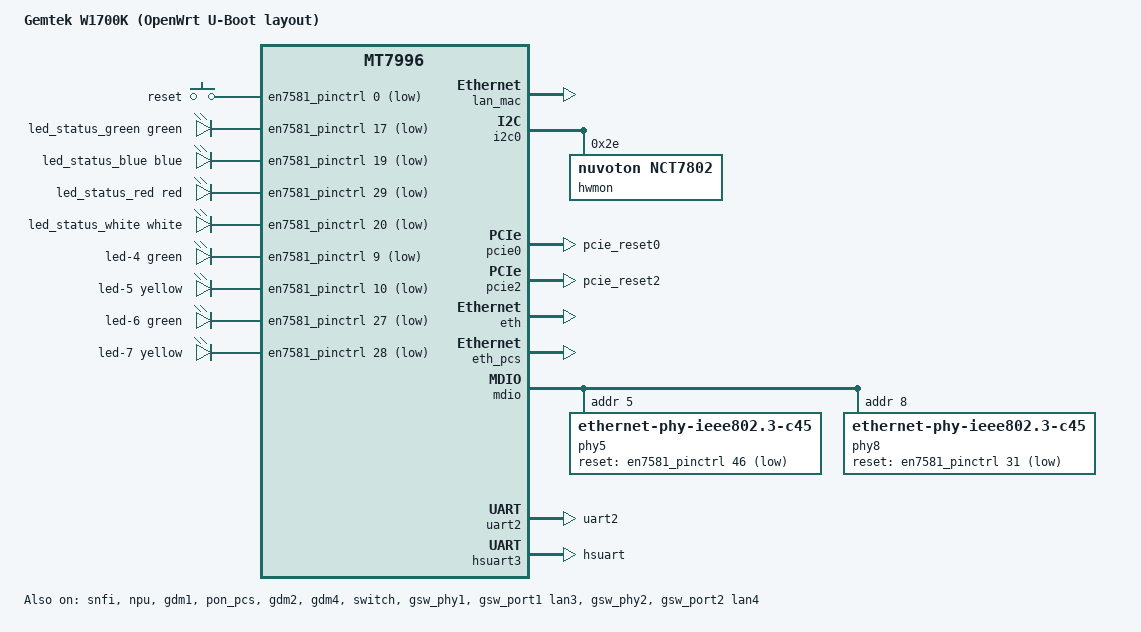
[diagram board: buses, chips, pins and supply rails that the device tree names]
// SPDX-License-Identifier: GPL-2.0-or-later OR MIT

/dts-v1/;

#include <dt-bindings/leds/common.h>
#include <dt-bindings/gpio/gpio.h>
#include <dt-bindings/input/input.h>
#include <dt-bindings/phy/phy.h>
#include "an7581.dtsi"
#include "an7581-npu-mt7996.dtsi"

/ {
	model = "Gemtek W1700K (OpenWrt U-Boot layout)";
	compatible = "gemtek,w1700k-ubi", "airoha,an7581", "airoha,en7581";

	aliases {
		serial0 = &uart1;
		led-boot = &led_status_red;
		led-failsafe = &led_status_blue;
		led-upgrade = &led_status_blue;
		led-running = &led_status_green;
	};

	chosen {
		rootdisk = <&ubi_rootfs>;
		bootargs = "console=ttyS0,115200 earlycon ubi.block=0,fit root=/dev/fit0 rootwait";
		stdout-path = "serial0:115200n8";
	};

	keys {
		compatible = "gpio-keys";

		key-restart {
			label = "reset";
			gpios = <&en7581_pinctrl 0 GPIO_ACTIVE_LOW>;
			linux,code = <KEY_RESTART>;
		};
	};

	leds {
		compatible = "gpio-leds";

		led_status_green: led-0 {
			color = <LED_COLOR_ID_GREEN>;
			function = LED_FUNCTION_STATUS;
			gpios = <&en7581_pinctrl 17 GPIO_ACTIVE_LOW>;
		};

		led_status_blue: led-1 {
			color = <LED_COLOR_ID_BLUE>;
			function = LED_FUNCTION_STATUS;
			gpios = <&en7581_pinctrl 19 GPIO_ACTIVE_LOW>;
		};

		led_status_red: led-2 {
			color = <LED_COLOR_ID_RED>;
			function = LED_FUNCTION_STATUS;
			gpios = <&en7581_pinctrl 29 GPIO_ACTIVE_LOW>;
		};

		led_status_white: led-3 {
			color = <LED_COLOR_ID_WHITE>;
			function = LED_FUNCTION_STATUS;
			gpios = <&en7581_pinctrl 20 GPIO_ACTIVE_LOW>;
		};

		led-4 {
			color = <LED_COLOR_ID_GREEN>;
			function = LED_FUNCTION_LAN;
			function-enumerator = <3>;
			gpios = <&en7581_pinctrl 9 GPIO_ACTIVE_LOW>;
		};

		led-5 {
			color = <LED_COLOR_ID_YELLOW>;
			function = LED_FUNCTION_LAN;
			function-enumerator = <3>;
			gpios = <&en7581_pinctrl 10 GPIO_ACTIVE_LOW>;
		};

		led-6 {
			color = <LED_COLOR_ID_GREEN>;
			function = LED_FUNCTION_LAN;
			function-enumerator = <4>;
			gpios = <&en7581_pinctrl 27 GPIO_ACTIVE_LOW>;
		};

		led-7 {
			color = <LED_COLOR_ID_YELLOW>;
			function = LED_FUNCTION_LAN;
			function-enumerator = <4>;
			gpios = <&en7581_pinctrl 28 GPIO_ACTIVE_LOW>;
		};
	};
};

&en7581_pinctrl {
	gpio-ranges = <&en7581_pinctrl 0 13 47>;

	mdio_pins: mdio-pins {
		mux {
			function = "mdio";
			groups = "mdio";
		};

		conf {
			pins = "gpio2";
			output-high;
		};
	};

	pcie0_rst_pins: pcie0-rst-pins {
		conf {
			pins = "pcie_reset0";
			drive-open-drain = <1>;
		};
	};

	pcie2_rst_pins: pcie2-rst-pins {
		conf {
			pins = "pcie_reset2";
			drive-open-drain = <1>;
		};
	};

	uart2_pins: uart2-pins {
		mux {
			function = "uart";
			groups = "uart2";
		};
	};

	hsuart_pins: hsuart-pins {
		mux {
			function = "uart";
			groups = "hsuart";
		};
	};
};

&snfi {
	status = "okay";
};

&spi_nand {
	#address-cells = <1>;
	#size-cells = <1>;
	partitions {
		compatible = "fixed-partitions";
		#address-cells = <1>;
		#size-cells = <1>;

		partition@0 {
			label = "vendor";
			reg = <0x00000000 0x00600000>;
			read-only;
		};

		partition@600000 {
			label = "chainloader";
			reg = <0x00600000 0x00100000>;
			read-only;
		};

		partition@700000 {
			label = "ubi";
			reg = <0x00700000 0x1b700000>;
			compatible = "linux,ubi";

			volumes {
				ubi-volume-ubootenv {
					volname = "ubootenv";
					nvmem-layout {
						compatible = "u-boot,env-redundant-bool";
					};
				};

				ubi-volume-ubootenv2 {
					volname = "ubootenv2";
					nvmem-layout {
						compatible = "u-boot,env-redundant-bool";
					};
				};

				ubi_rootfs: ubi-volume-fit {
					volname = "fit";
				};

				ubi_factory: ubi-volume-factory {
					volname = "factory";
				};
			};
		};

		/* reserved for bad block table */
		reserved_bmt@1be00000 {
			label = "reserved_bmt";
			reg = <0x1be00000 0x04200000>;
			read-only;
		};
	};
};

&ubi_factory {
	nvmem-layout {
		compatible = "fixed-layout";
		#address-cells = <1>;
		#size-cells = <1>;

		eeprom: eeprom@0 {
			reg = <0x0 0x1e00>;
		};

		wan_mac: macaddr@5000 {
			reg = <0x5000 0x6>;
		};

		lan_mac: macaddr@6000 {
			compatible = "mac-base";
			reg = <0x6000 0x6>;
			#nvmem-cell-cells = <1>;
		};
	};
};

&i2c0 {
	status = "okay";

	hwmon@2e {
		compatible = "nuvoton,nct7802";
		reg = <0x2e>;
	};
};

&pcie0 {
	status = "okay";

	airoha,x2-mode;

	pinctrl-names = "default";
	pinctrl-0 = <&pcie0_rst_pins>;
	pcie@0,0 {
		reg = <0x0000 0 0 0 0>;
		device_type = "pci";
		#address-cells = <3>;
		#size-cells = <2>;

		mt7996@0,0 {
			reg = <0x0000 0 0 0 0>;
			#address-cells = <1>;
			#size-cells = <0>;
			nvmem-cells = <&eeprom>;
			nvmem-cell-names = "eeprom";
			airoha,npu = <&npu>;
			airoha,eth = <&eth>;

			band@0 {
				/* 2.4 GHz */
				reg = <0>;
				nvmem-cells = <&lan_mac 1>;
				nvmem-cell-names = "mac-address";
			};

			band@1 {
				/* 5 GHz */
				reg = <1>;
				nvmem-cells = <&lan_mac 2>;
				nvmem-cell-names = "mac-address";
			};

			band@2 {
				/* 6 GHz */
				reg = <2>;
				nvmem-cells = <&lan_mac 3>;
				nvmem-cell-names = "mac-address";
			};
		};
	};
};

&pcie2 {
	status = "okay";

	pinctrl-names = "default";
	pinctrl-0 = <&pcie2_rst_pins>;
};

&npu {
	status = "okay";
};

&eth {
	status = "okay";
};

&gdm1 {
	status = "okay";

	nvmem-cells = <&lan_mac 0>;
	nvmem-cell-names = "mac-address";
};

&pon_pcs {
	status = "okay";
};

&gdm2 {
	status = "okay";

	managed = "in-band-status";
	phy-handle = <&phy8>;
	phy-mode = "usxgmii";

	nvmem-cells = <&wan_mac 0>;
	nvmem-cell-names = "mac-address";
	openwrt,netdev-name = "wan";
};

&eth_pcs {
	status = "okay";
};

&gdm4 {
	status = "okay";

	managed = "in-band-status";
	phy-handle = <&phy5>;
	phy-mode = "usxgmii";

	nvmem-cells = <&lan_mac 0>;
	nvmem-cell-names = "mac-address";
	openwrt,netdev-name = "lan2";
};

&switch {
	status = "okay";

	pinctrl-names = "default";
	pinctrl-0 = <&mdio_pins>;

	mdio {
		phy5: ethernet-phy@5 {
			compatible = "ethernet-phy-ieee802.3-c45";
			reg = <5>;
			reset-gpios = <&en7581_pinctrl 46 GPIO_ACTIVE_LOW>;
			reset-assert-us = <200000>;
			reset-deassert-us = <200000>;
			// interrupt-parent = <&en7581_pinctrl>;
			// interrupts = <22 IRQ_TYPE_LEVEL_LOW>;
			tx-polarity = <PHY_POL_INVERT>;
			rx-polarity = <PHY_POL_INVERT>;
		};

		phy8: ethernet-phy@8 {
			compatible = "ethernet-phy-ieee802.3-c45";
			reg = <8>;
			reset-gpios = <&en7581_pinctrl 31 GPIO_ACTIVE_LOW>;
			reset-assert-us = <200000>;
			reset-deassert-us = <200000>;
			// interrupt-parent = <&en7581_pinctrl>;
			// interrupts = <23 IRQ_TYPE_LEVEL_LOW>;
			tx-polarity = <PHY_POL_INVERT>;
			rx-polarity = <PHY_POL_INVERT>;
		};
	};
};

&gsw_phy1 {
	status = "okay";
	interrupts = <1>;
};

&gsw_port1 {
	status = "okay";
	label = "lan3";
};

&gsw_phy2 {
	status = "okay";
	interrupts = <2>;
};

&gsw_port2 {
	status = "okay";
	label = "lan4";
};

&uart2 {
	status = "okay";
	pinctrl-names = "default";
	pinctrl-0 = <&uart2_pins>;
};

&hsuart3 {
	status = "okay";
	pinctrl-names = "default";
	pinctrl-0 = <&hsuart_pins>;
};
